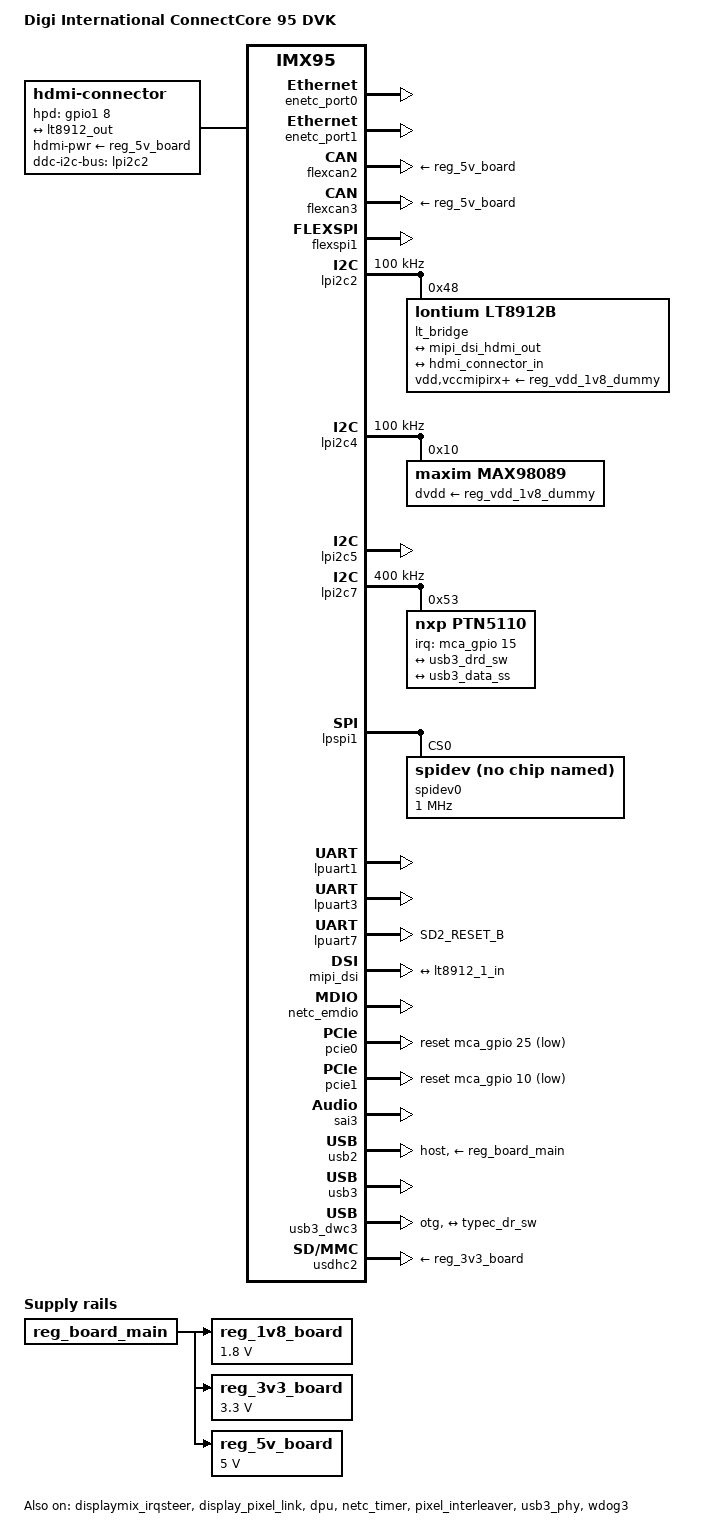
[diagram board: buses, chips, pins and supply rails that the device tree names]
// SPDX-License-Identifier: (GPL-2.0+ OR MIT)
/*
 * Copyright 2025-2026, Digi International Inc.
 */

/dts-v1/;

#include <dt-bindings/phy/phy-imx8-pcie.h>
#include <dt-bindings/pwm/pwm.h>
#include <dt-bindings/usb/pd.h>
/* i.MX95 CPU */
#include "../freescale/imx95.dtsi"
/* Digi ConnectCore 95 (SOM) */
#include "ccimx95.dtsi"
/* Digi ConnectCore 95 SMARC card for SOM */
#include "ccimx95-smarc.dtsi"

/ {
	model = "Digi International ConnectCore 95 DVK";
	compatible = "digi,ccimx95-dvk", "digi,ccimx95", "fsl,imx95-19x19-evk", "fsl,imx95";
	digi,machine,name = "ccimx95-dvk";

	aliases {
		ethernet0 = &enetc_port0;
		ethernet1 = &enetc_port1;
	};

	chosen {
		stdout-path = &lpuart1;
	};

	hdmi_connector: hdmi-connector {
		compatible = "hdmi-connector";
		pinctrl-names = "default";
		pinctrl-0 = <&pinctrl_hdmi_hpd>;
		ddc-i2c-bus = <&lpi2c2>;
		hdmi-pwr-supply = <&reg_5v_board>;
		hpd-gpios = <&gpio1 8 GPIO_ACTIVE_HIGH>;
		label = "hdmi";
		type = "a";

		port {
			hdmi_connector_in: endpoint {
				remote-endpoint = <&lt8912_out>;
			};
		};
	};

	/* Required placeholder to inject LVDS0 overlay */
	lvds0-panel {
		status = "disabled";
	};

	/* Required placeholder to inject LVDS1 overlay */
	lvds1-panel {
		status = "disabled";
	};

	regulators {
		compatible = "simple-bus";
		#address-cells = <1>;
		#size-cells = <0>;

		/* Enabled by SMARC_CARRIER_PWR_ON (MCA) */
		reg_board_main: regulator-board-main {
			compatible = "regulator-fixed";
			regulator-name = "reg_main";
			enable-active-high;
		};

		reg_1v8_board: regulator-1v8-board {
			compatible = "regulator-fixed";
			regulator-max-microvolt = <1800000>;
			regulator-min-microvolt = <1800000>;
			regulator-name = "1v8_board";
			vin-supply = <&reg_board_main>;
		};

		reg_3v3_board: regulator-3v3-board {
			compatible = "regulator-fixed";
			regulator-max-microvolt = <3300000>;
			regulator-min-microvolt = <3300000>;
			regulator-name = "3v3_board";
			vin-supply = <&reg_board_main>;
		};

		reg_5v_board: regulator-5v-board {
			compatible = "regulator-fixed";
			regulator-max-microvolt = <5000000>;
			regulator-min-microvolt = <5000000>;
			regulator-name = "5v_board";
			vin-supply = <&reg_board_main>;
		};
	};

	sound_max98089: sound-max98089 {
		compatible = "fsl,imx-audio-max98088";
		model = "max98088-audio";
		audio-cpu = <&sai3>;
		audio-codec = <&max98089>;
		audio-routing =
			"Headphone Jack", "HPL",
			"Headphone Jack", "HPR",
			"Ext Spk", "SPKL",
			"Ext Spk", "SPKR",
			"Line Out Jack", "RECL",
			"Line Out Jack", "RECR",
			"Mic Jack", "MIC2",
			"Line In Jack", "INA1",
			"Line In Jack", "INA2",
			"Line In Jack", "INB1",
			"Line In Jack", "INB2";
	};
};

&displaymix_irqsteer {
	status = "okay";
};

&display_pixel_link {
	status = "okay";
};

&dpu {
	assigned-clocks = <&scmi_clk IMX95_CLK_DISP1PIX>,
			  <&scmi_clk IMX95_CLK_VIDEOPLL1_VCO>,
			  <&scmi_clk IMX95_CLK_VIDEOPLL1>;
	assigned-clock-parents = <&scmi_clk IMX95_CLK_VIDEOPLL1>;
	assigned-clock-rates = <0>, <4008000000>, <445333334>;
	status = "okay";
};

/* GBE1 */
&enetc_port0 {
	status = "okay";
};

/* GBE2 */
&enetc_port1 {
	status = "okay";
};

&flexcan2 {
	xceiver-supply = <&reg_5v_board>;
	status = "okay";
};

&flexcan3 {
	xceiver-supply = <&reg_5v_board>;
	status = "okay";
};

&flexspi1 {
	pinctrl-names = "default", "sleep";
	pinctrl-0 = <&pinctrl_flexspi1>;
	pinctrl-1 = <&pinctrl_flexspi1>;
	/*
	 * TODO: reset line unsupported by FlexSPI driver
	 * SMARC_ESPI_RESET# comes from MCA_IO16
	 */
	status = "okay";
};

&lpi2c2 {
	#address-cells = <1>;
	#size-cells = <0>;
	clock-frequency = <100000>;
	status = "okay";

	lt_bridge: lt8912@48 {
		compatible = "lontium,lt8912b";
		reg = <0x48>;
		vdd-supply = <&reg_vdd_1v8_dummy>;
		vccmipirx-supply = <&reg_vdd_1v8_dummy>;
		vcchdmitx-supply = <&reg_vdd_1v8_dummy>;
		vcchdmipll-supply = <&reg_vdd_1v8_dummy>;
		vcclvdstx-supply = <&reg_vdd_1v8_dummy>;
		vccsysclk-supply = <&reg_vdd_1v8_dummy>;
		vcclvdspll-supply = <&reg_vdd_1v8_dummy>;
		status = "okay";

		ports {
			#address-cells = <1>;
			#size-cells = <0>;

			port@0 {
				reg = <0>;
				lt8912_1_in: endpoint {
					data-lanes = <1 2 3 4>;
					remote-endpoint = <&mipi_dsi_hdmi_out>;
				};
			};

			port@1 {
				reg = <1>;
				lt8912_out: endpoint {
					remote-endpoint = <&hdmi_connector_in>;
				};
			};
		};
	};
};

&lpi2c4 {
	#address-cells = <1>;
	#size-cells = <0>;
	clock-frequency = <100000>;
	status = "okay";

	max98089: codec@10 {
		compatible = "maxim,max98089";
		reg = <0x10>;
		clocks = <&scmi_clk IMX95_CLK_SAI3>;
		clock-names = "mclk";
		dvdd-supply = <&reg_vdd_1v8_dummy>;
	};
};

&lpi2c5 {
	status = "okay";
};

&lpi2c7 {
	#address-cells = <1>;
	#size-cells = <0>;
	clock-frequency = <400000>;
	status = "okay";

	ptn5110: tcpc@53 {
		compatible = "nxp,ptn5110";
		reg = <0x53>;
		interrupt-parent = <&mca_gpio>;
		interrupts = <15 IRQ_TYPE_EDGE_FALLING>;
		pinctrl-names = "default";
		pinctrl-0 = <&pinctrl_ptn5110>;

		port {
			typec_dr_sw: endpoint {
				remote-endpoint = <&usb3_drd_sw>;
			};
		};

		typec_con: connector {
			compatible = "usb-c-connector";
			label = "USB-C";
			power-role = "dual";
			data-role = "dual";
			try-power-role = "sink";
			source-pdos = <PDO_FIXED(5000, 3000, PDO_FIXED_USB_COMM)>;
			sink-pdos = <PDO_FIXED(5000, 0, PDO_FIXED_USB_COMM)>;
			op-sink-microwatt = <0>;
			self-powered;

			ports {
				#address-cells = <1>;
				#size-cells = <0>;

				port@1 {
					reg = <1>;
					typec_con_ss: endpoint {
						remote-endpoint = <&usb3_data_ss>;
					};
				};
			};
		};
	};
};

&lpspi1 {
	status = "okay";

	spidev0: spi@0 {
		/*
		 * spidev uses a compatible string 'rohm,fs2228fv' to have the
		 * driver create an spi device node. This is just an example,
		 * there is not a real device connected on the SPI bus.
		 */
		compatible = "rohm,dh2228fv";
		reg = <0>;
		spi-max-frequency = <1000000>;
	};
};

/* Console */
&lpuart1 {
	/* Errata: DMA does not work on LPUART1 */
	/delete-property/dmas;
	/delete-property/dma-names;
	status = "okay";
};

/* LPUART3 routed to RS485 transceiver */
&lpuart3 {
	/*
	 * Disable RS485 on DVKv2 because DE/RE# line is an MCA_IO
	 * that cannot be toggled in interrupt context.
	 */
	// linux,rs485-enabled-at-boot-time;
	// digi,rts-gpio = <&mca_gpio 18 GPIO_ACTIVE_HIGH>;
	/delete-property/dmas;
	/delete-property/dma-names;
	status = "okay";
};

/* LPUART7 routed to XBee connector */
&lpuart7 {
	pinctrl-names = "default";
	pinctrl-0 = <&pinctrl_uart7>, <&pinctrl_xbee_gpios>;
	status = "okay";
};

&mipi_dsi {
	status = "okay";

	ports {
		#address-cells = <1>;
		#size-cells = <0>;

		port@1 {
			reg = <1>;

			mipi_dsi_hdmi_out: endpoint {
				remote-endpoint = <&lt8912_1_in>;
			};
		};
	};
};

/* Shared Ethernet MDIO */
&netc_emdio {
	status = "okay";
};

&netc_timer {
	status = "okay";
};

/* M.2 E-Key slot */
&pcie0 {
	vpcie-supply = <&reg_3v3_board>;
	reset-gpio = <&mca_gpio 25 GPIO_ACTIVE_LOW>;	/* MCA PB10 */
	status = "okay";
};

/* M.2 B-Key slot */
&pcie1 {
	vpcie-supply = <&reg_3v3_board>;
	reset-gpio = <&mca_gpio 10 GPIO_ACTIVE_LOW>;	/* MCA PB1 */
	status = "okay";
};

&pcie1_ep {
	vpcie-supply = <&reg_3v3_board>;
};

&pixel_interleaver {
	#address-cells = <1>;
	#size-cells = <0>;
	status = "okay";

	channel@0 {
		reg = <0>;
		status = "okay";
	};
};

&sai3 {
	status = "okay";
};

&usb2 {
	/* On SMARC DVKv1 powered directly from VIN_5V */
	vbus-supply = <&reg_board_main>;
	dr_mode = "host";
	disable-over-current;
	status = "okay";
};

&usb3 {
	status = "okay";
};

&usb3_dwc3 {
	dr_mode = "otg";
	hnp-disable;
	srp-disable;
	adp-disable;
	usb-role-switch;
	role-switch-default-mode = "host";
	snps,dis-u1-entry-quirk;
	snps,dis-u2-entry-quirk;
	status = "okay";

	port {
		usb3_drd_sw: endpoint {
			remote-endpoint = <&typec_dr_sw>;
		};
	};
};

&usb3_phy {
	vbus-supply = <&reg_5v_board>;
	fsl,phy-pcs-tx-deemph-3p5db-attenuation-db = <17>;
	fsl,phy-pcs-tx-swing-full-percent = <100>;
	fsl,phy-tx-preemp-amp-tune-microamp = <600>;
	fsl,phy-tx-vboost-level-microvolt = <1156>;
	status = "okay";

	port {
		usb3_data_ss: endpoint {
			remote-endpoint = <&typec_con_ss>;
		};
	};
};

/* MicroSD */
&usdhc2 {
	vmmc-supply = <&reg_3v3_board>;
	status = "okay";
};

&wdog3 {
	status = "okay";
};

&scmi_iomuxc {
	pinctrl_hdmi_hpd: hdmi_hpd_grp {
		fsl,pins = <
			IMX95_PAD_PDM_CLK__AONMIX_TOP_GPIO1_IO_BIT8	0x31e
		>;
	};

	pinctrl_ptn5110: ptn5110grp {
		fsl,pins = <
			/* PTN5110 debug irq (DBG_ACC) line */
			IMX95_PAD_ENET1_MDC__GPIO4_IO_BIT0		0x31e
		>;
	};

	/* XBee RF IO lines */
	pinctrl_xbee_gpios: xbeegrp {
		fsl,pins = <
			/* XBEE_RESET_N */
			IMX95_PAD_SD2_RESET_B__GPIO3_IO_BIT7		0x31e
		>;
	};
};
